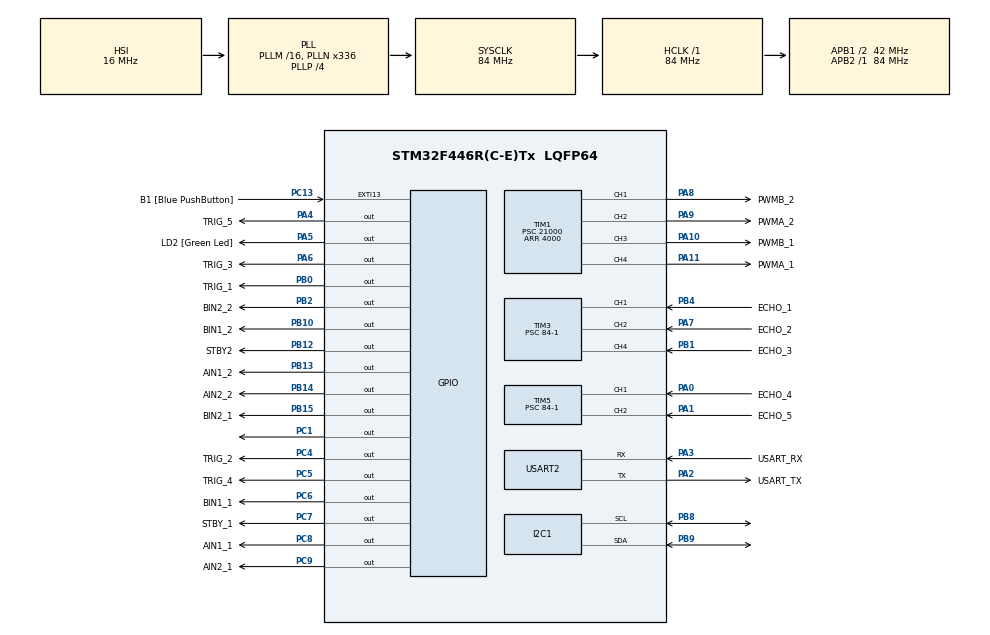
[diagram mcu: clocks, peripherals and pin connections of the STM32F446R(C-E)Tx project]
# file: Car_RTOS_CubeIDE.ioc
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Mcu.Family=STM32F4
Mcu.Name=STM32F446R(C-E)Tx
Mcu.Package=LQFP64
NVIC.PriorityGroup=NVIC_PRIORITYGROUP_4
NVIC.TIM2_IRQn=true\:0\:0\:false\:false\:true\:false\:true
NVIC.TIM3_IRQn=true\:0\:0\:false\:false\:true\:true\:true
NVIC.TimeBase=TIM2_IRQn
NVIC.TimeBaseIP=TIM2
PA0-WKUP.GPIO_Label=ECHO_4
PA0-WKUP.Signal=S_TIM5_CH1
PA1.GPIO_Label=ECHO_5
PA1.Signal=S_TIM5_CH2
PA10.GPIO_Label=PWMB_1
PA10.GPIO_Speed=GPIO_SPEED_FREQ_HIGH
PA10.Signal=S_TIM1_CH3
PA11.GPIO_Label=PWMA_1
PA11.GPIO_Speed=GPIO_SPEED_FREQ_HIGH
PA11.Signal=S_TIM1_CH4
PA13.GPIO_Label=TMS
PA13.Mode=Serial_Wire
PA13.Signal=SYS_JTMS-SWDIO
PA14.GPIO_Label=TCK
PA14.Mode=Serial_Wire
PA14.Signal=SYS_JTCK-SWCLK
PA2.GPIO_Label=USART_TX
PA2.Mode=Asynchronous
PA2.Signal=USART2_TX
PA3.GPIO_Label=USART_RX
PA3.Mode=Asynchronous
PA3.Signal=USART2_RX
PA4.GPIO_Label=TRIG_5
PA4.Signal=GPIO_Output
PA5.GPIO_Label=LD2 [Green Led]
PA5.GPIO_PuPd=GPIO_NOPULL
PA5.GPIO_Speed=GPIO_SPEED_FREQ_LOW
PA5.PinState=GPIO_PIN_RESET
PA5.Signal=GPIO_Output
PA6.GPIO_Label=TRIG_3
PA6.Signal=GPIO_Output
PA7.GPIO_Label=ECHO_2
PA7.Signal=S_TIM3_CH2
PA8.GPIO_Label=PWMB_2
PA8.GPIO_Speed=GPIO_SPEED_FREQ_HIGH
PA8.Signal=S_TIM1_CH1
PA9.GPIO_Label=PWMA_2
PA9.GPIO_Speed=GPIO_SPEED_FREQ_HIGH
PA9.Signal=S_TIM1_CH2
PB0.GPIO_Label=TRIG_1
PB0.Signal=GPIO_Output
PB1.GPIO_Label=ECHO_3
PB1.Signal=S_TIM3_CH4
PB10.GPIO_Label=BIN1_2
PB10.Signal=GPIO_Output
PB12.GPIO_Label=STBY2
PB12.Signal=GPIO_Output
PB13.GPIO_Label=AIN1_2
PB13.Signal=GPIO_Output
PB14.GPIO_Label=AIN2_2
PB14.Signal=GPIO_Output
PB15.GPIO_Label=BIN2_1
PB15.Signal=GPIO_Output
PB2.GPIO_Label=BIN2_2
PB2.Signal=GPIO_Output
PB3.GPIO_Label=SWO
PB3.Signal=SYS_JTDO-SWO
PB4.GPIO_Label=ECHO_1
PB4.Signal=S_TIM3_CH1
PB8.Mode=I2C
PB8.Signal=I2C1_SCL
PB9.Mode=I2C
PB9.Signal=I2C1_SDA
PC1.Signal=GPIO_Output
PC13.GPIO_Label=B1 [Blue PushButton]
PC13.GPIO_ModeDefaultEXTI=GPIO_MODE_IT_FALLING
PC13.Signal=GPXTI13
PC14-OSC32_IN.Mode=LSE-External-Oscillator
PC14-OSC32_IN.Signal=RCC_OSC32_IN
PC15-OSC32_OUT.Mode=LSE-External-Oscillator
PC15-OSC32_OUT.Signal=RCC_OSC32_OUT
PC4.GPIO_Label=TRIG_2
PC4.Signal=GPIO_Output
PC5.GPIO_Label=TRIG_4
PC5.Signal=GPIO_Output
PC6.GPIO_Label=BIN1_1
PC6.Signal=GPIO_Output
PC7.GPIO_Label=STBY_1
PC7.Signal=GPIO_Output
PC8.GPIO_Label=AIN1_1
PC8.Signal=GPIO_Output
PC9.GPIO_Label=AIN2_1
PC9.Signal=GPIO_Output
PH0-OSC_IN.Mode=HSE-External-Oscillator
PH0-OSC_IN.Signal=RCC_OSC_IN
PH1-OSC_OUT.Mode=HSE-External-Oscillator
PH1-OSC_OUT.Signal=RCC_OSC_OUT
ProjectManager.HeapSize=0x200
ProjectManager.StackSize=0x400
ProjectManager.TargetToolchain=STM32CubeIDE
RCC.48MHZClocksFreq_Value=84000000
RCC.AHBFreq_Value=84000000
RCC.APB1CLKDivider=RCC_HCLK_DIV2
RCC.APB1Freq_Value=42000000
RCC.APB1TimFreq_Value=84000000
RCC.APB2Freq_Value=84000000
RCC.APB2TimFreq_Value=84000000
RCC.CortexFreq_Value=84000000
RCC.FLatency-AdvancedSettings=FLASH_LATENCY_2
RCC.HCLKFreq_Value=84000000
RCC.HSE_VALUE=8000000
RCC.HSI_VALUE=16000000
RCC.PLLN=336
RCC.PLLP=RCC_PLLP_DIV4
RCC.SYSCLKFreq_VALUE=84000000
RCC.SYSCLKSource=RCC_SYSCLKSOURCE_PLLCLK
RCC.USBFreq_Value=168000000
RCC.VCOOutputFreq_Value=336000000
SH.S_TIM1_CH1.0=TIM1_CH1,PWM Generation1 CH1
SH.S_TIM1_CH2.0=TIM1_CH2,PWM Generation2 CH2
SH.S_TIM1_CH3.0=TIM1_CH3,PWM Generation3 CH3
SH.S_TIM1_CH4.0=TIM1_CH4,PWM Generation4 CH4
SH.S_TIM3_CH1.0=TIM3_CH1,Input_Capture1_from_TI1
SH.S_TIM3_CH2.0=TIM3_CH2,Input_Capture2_from_TI2
SH.S_TIM3_CH4.0=TIM3_CH4,Input_Capture4_from_TI4
SH.S_TIM5_CH1.0=TIM5_CH1,Input_Capture1_from_TI1
SH.S_TIM5_CH2.0=TIM5_CH2,Input_Capture2_from_TI2
TIM1.Channel-PWM\ Generation1\ CH1=TIM_CHANNEL_1
TIM1.Channel-PWM\ Generation2\ CH2=TIM_CHANNEL_2
TIM1.Channel-PWM\ Generation3\ CH3=TIM_CHANNEL_3
TIM1.Channel-PWM\ Generation4\ CH4=TIM_CHANNEL_4
TIM1.Period=4000
TIM1.Prescaler=21000
TIM1.Pulse-PWM\ Generation1\ CH1=2000
TIM1.Pulse-PWM\ Generation2\ CH2=2000
TIM1.Pulse-PWM\ Generation3\ CH3=2000
TIM1.Pulse-PWM\ Generation4\ CH4=2000
TIM3.Channel-Input_Capture1_from_TI1=TIM_CHANNEL_1
TIM3.Channel-Input_Capture2_from_TI2=TIM_CHANNEL_2
TIM3.Channel-Input_Capture4_from_TI4=TIM_CHANNEL_4
TIM3.ICFilter_CH1=4
TIM3.ICFilter_CH2=4
TIM3.ICFilter_CH4=4
TIM3.ICPolarity_CH1=TIM_INPUTCHANNELPOLARITY_BOTHEDGE
TIM3.ICPolarity_CH2=TIM_INPUTCHANNELPOLARITY_BOTHEDGE
TIM3.ICPolarity_CH4=TIM_INPUTCHANNELPOLARITY_BOTHEDGE
TIM3.Prescaler=84-1
TIM5.Channel-Input_Capture1_from_TI1=TIM_CHANNEL_1
TIM5.Channel-Input_Capture2_from_TI2=TIM_CHANNEL_2
TIM5.ICFilter_CH1=4
TIM5.ICFilter_CH2=4
TIM5.ICPolarity_CH1=TIM_INPUTCHANNELPOLARITY_BOTHEDGE
TIM5.ICPolarity_CH2=TIM_INPUTCHANNELPOLARITY_BOTHEDGE
TIM5.Period=65535
TIM5.Prescaler=84-1
USART2.VirtualMode=VM_ASYNC
VP_SYS_VS_tim2.Mode=TIM2
VP_TIM3_VS_ClockSourceINT.Mode=Internal
VP_TIM4_VS_ClockSourceINT.Mode=Internal
board=NUCLEO-F446RE

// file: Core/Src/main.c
/* USER CODE BEGIN Header */
/**
  ******************************************************************************
  * @file           : main.c
  * @brief          : Main program body
  ******************************************************************************
  * @attention
  *
  * <h2><center>&copy; Copyright (c) 2021 STMicroelectronics.
  * All rights reserved.</center></h2>
  *
  * This software component is licensed by ST under BSD 3-Clause license,
  * the "License"; You may not use this file except in compliance with the
  * License. You may obtain a copy of the License at:
  *                        opensource.org/licenses/BSD-3-Clause
  *
  ******************************************************************************
  */
/* USER CODE END Header */
#include "main.h"

/* USER CODE BEGIN Includes */
#include "FreeRTOS.h"
#include "task.h"
#include "TJ_MPU6050.h"
#include "string.h"
#include "stdio.h"
//#include "SEGGER_SYSVIEW.h"
/* USER CODE END Includes */

I2C_HandleTypeDef hi2c1;

TIM_HandleTypeDef htim1;
TIM_HandleTypeDef htim3;
TIM_HandleTypeDef htim4;
TIM_HandleTypeDef htim5;

UART_HandleTypeDef huart2;

/* USER CODE BEGIN PV */
//Sensor task handles
TaskHandle_t xUS1TaskHandle;
TaskHandle_t xUS2TaskHandle;
TaskHandle_t xUS3TaskHandle;
TaskHandle_t xUS4TaskHandle;
TaskHandle_t xUS5TaskHandle;

//Motion task handles
TaskHandle_t xTurnTestTaskHandle;

//IMU task handle
TaskHandle_t xIMUTaskHandle;

const float SpeedSound = 0.0343;
float range1R;
float range2R;
float range3R;
float range4R;
float range5R;
float range1F = 0.0f;
float range2F = 0.0f;
float range3F = 0.0f;
float range4F = 0.0f;
float range5F = 0.0f;
uint8_t icFlag1 = 0;
uint8_t captureIdx1 = 0;
uint32_t edge1Time1=0, edge2Time1=0;
uint8_t icFlag2 = 0;
uint8_t captureIdx2 = 0;
uint32_t edge1Time2=0, edge2Time2=0;
uint8_t icFlag3 = 0;
uint8_t captureIdx3 = 0;
uint32_t edge1Time3=0, edge2Time3=0;
uint8_t icFlag4 = 0;
uint8_t captureIdx4 = 0;
uint32_t edge1Time4=0, edge2Time4=0;
uint8_t icFlag5 = 0;
uint8_t captureIdx5 = 0;
uint32_t edge1Time5=0, edge2Time5=0;
uint8_t USNUM = 1;

char uartBuf[100];
char uartSenBuf[32] = {0};

//IMU
ScaledData_Def AccelScaled, GyroScaled;

/* USER CODE END PV */

void SystemClock_Config(void);
static void MX_GPIO_Init(void);
static void MX_TIM1_Init(void);
static void MX_USART2_UART_Init(void);
static void MX_TIM4_Init(void);
static void MX_I2C1_Init(void);
static void MX_TIM3_Init(void);
static void MX_TIM5_Init(void);
/* USER CODE BEGIN PFP */
void vUS1Task(void *pvParameters);
void vUS2Task(void *pvParameters);
void vUS3Task(void *pvParameters);
void vUS4Task(void *pvParameters);
void vUS5Task(void *pvParameters);
void usDelay(uint32_t uSec);
void LowPassFilter(void);
void HAL_TIM_IC_CaptureCallback(TIM_HandleTypeDef *htim);
void vTurnTestTask(void *pvParameters);
void vMPU6050Task(void *pvParameters);
void MPU6050Setup(void);
int _write(int file, char *ptr, int len);

//float LowPassFilter(float rangeDataold,float rangeDatanew);
/* USER CODE END PFP */

int main(void)
{

  /* MCU Configuration--------------------------------------------------------*/

  /* Reset of all peripherals, Initializes the Flash interface and the Systick. */
  HAL_Init();

  /* Configure the system clock */
  SystemClock_Config();

  /* Initialize all configured peripherals */
  MX_GPIO_Init();
  MX_TIM1_Init();
  MX_USART2_UART_Init();
  MX_TIM4_Init();
  MX_I2C1_Init();
  MX_TIM3_Init();
  MX_TIM5_Init();
  /* USER CODE BEGIN 2 */
  //Start PWM for motor drivers
  HAL_TIM_PWM_Start(&htim1, TIM_CHANNEL_1);
  HAL_TIM_PWM_Start(&htim1, TIM_CHANNEL_2);
  HAL_TIM_PWM_Start(&htim1, TIM_CHANNEL_3);
  HAL_TIM_PWM_Start(&htim1, TIM_CHANNEL_4);

  //Setup IMU
  MPU6050Setup();
  //SEGGER_SYSVIEW_Conf();
  //SEGGER_SYSVIEW_Start();
  // Create Range sensor task
  xTaskCreate(vUS1Task ,"US1-Task", configMINIMAL_STACK_SIZE, NULL, 1, &xUS1TaskHandle);
  xTaskCreate(vUS2Task ,"US2-Task", configMINIMAL_STACK_SIZE, NULL, 1, &xUS2TaskHandle);
  xTaskCreate(vUS3Task ,"US3-Task", configMINIMAL_STACK_SIZE, NULL, 1, &xUS3TaskHandle);
  xTaskCreate(vUS4Task ,"US4-Task", configMINIMAL_STACK_SIZE, NULL, 1, &xUS4TaskHandle);
  xTaskCreate(vUS5Task ,"US5-Task", configMINIMAL_STACK_SIZE, NULL, 1, &xUS5TaskHandle);

  //Motion tasks
  xTaskCreate(vTurnTestTask, "Turn-Test-Task", configMINIMAL_STACK_SIZE, NULL, 1, &xTurnTestTaskHandle);

  //IMU Task
  xTaskCreate(vMPU6050Task, "IMU-Task", configMINIMAL_STACK_SIZE, NULL, 1, &xIMUTaskHandle);

  vTaskStartScheduler();
  /* USER CODE END 2 */

  /* Infinite loop */
  while (1)
  {

  }
}

void SystemClock_Config(void)
{
  RCC_OscInitTypeDef RCC_OscInitStruct = {0};
  RCC_ClkInitTypeDef RCC_ClkInitStruct = {0};

  /** Configure the main internal regulator output voltage
  */
  __HAL_RCC_PWR_CLK_ENABLE();
  __HAL_PWR_VOLTAGESCALING_CONFIG(PWR_REGULATOR_VOLTAGE_SCALE3);
  /** Initializes the RCC Oscillators according to the specified parameters
  * in the RCC_OscInitTypeDef structure.
  */
  RCC_OscInitStruct.OscillatorType = RCC_OSCILLATORTYPE_HSI;
  RCC_OscInitStruct.HSIState = RCC_HSI_ON;
  RCC_OscInitStruct.HSICalibrationValue = RCC_HSICALIBRATION_DEFAULT;
  RCC_OscInitStruct.PLL.PLLState = RCC_PLL_ON;
  RCC_OscInitStruct.PLL.PLLSource = RCC_PLLSOURCE_HSI;
  RCC_OscInitStruct.PLL.PLLM = 16;
  RCC_OscInitStruct.PLL.PLLN = 336;
  RCC_OscInitStruct.PLL.PLLP = RCC_PLLP_DIV4;
  RCC_OscInitStruct.PLL.PLLQ = 2;
  RCC_OscInitStruct.PLL.PLLR = 2;
  if (HAL_RCC_OscConfig(&RCC_OscInitStruct) != HAL_OK)
  {
    Error_Handler();
  }
  /** Initializes the CPU, AHB and APB buses clocks
  */
  RCC_ClkInitStruct.ClockType = RCC_CLOCKTYPE_HCLK|RCC_CLOCKTYPE_SYSCLK
                              |RCC_CLOCKTYPE_PCLK1|RCC_CLOCKTYPE_PCLK2;
  RCC_ClkInitStruct.SYSCLKSource = RCC_SYSCLKSOURCE_PLLCLK;
  RCC_ClkInitStruct.AHBCLKDivider = RCC_SYSCLK_DIV1;
  RCC_ClkInitStruct.APB1CLKDivider = RCC_HCLK_DIV2;
  RCC_ClkInitStruct.APB2CLKDivider = RCC_HCLK_DIV1;

  if (HAL_RCC_ClockConfig(&RCC_ClkInitStruct, FLASH_LATENCY_2) != HAL_OK)
  {
    Error_Handler();
  }
}

static void MX_I2C1_Init(void)
{

  hi2c1.Instance = I2C1;
  hi2c1.Init.ClockSpeed = 100000;
  hi2c1.Init.DutyCycle = I2C_DUTYCYCLE_2;
  hi2c1.Init.OwnAddress1 = 0;
  hi2c1.Init.AddressingMode = I2C_ADDRESSINGMODE_7BIT;
  hi2c1.Init.DualAddressMode = I2C_DUALADDRESS_DISABLE;
  hi2c1.Init.OwnAddress2 = 0;
  hi2c1.Init.GeneralCallMode = I2C_GENERALCALL_DISABLE;
  hi2c1.Init.NoStretchMode = I2C_NOSTRETCH_DISABLE;
  if (HAL_I2C_Init(&hi2c1) != HAL_OK)
  {
    Error_Handler();
  }

}

static void MX_TIM1_Init(void)
{

  TIM_MasterConfigTypeDef sMasterConfig = {0};
  TIM_OC_InitTypeDef sConfigOC = {0};
  TIM_BreakDeadTimeConfigTypeDef sBreakDeadTimeConfig = {0};

  htim1.Instance = TIM1;
  htim1.Init.Prescaler = 21000;
  htim1.Init.CounterMode = TIM_COUNTERMODE_UP;
  htim1.Init.Period = 4000;
  htim1.Init.ClockDivision = TIM_CLOCKDIVISION_DIV1;
  htim1.Init.RepetitionCounter = 0;
  htim1.Init.AutoReloadPreload = TIM_AUTORELOAD_PRELOAD_DISABLE;
  if (HAL_TIM_PWM_Init(&htim1) != HAL_OK)
  {
    Error_Handler();
  }
  sMasterConfig.MasterOutputTrigger = TIM_TRGO_RESET;
  sMasterConfig.MasterSlaveMode = TIM_MASTERSLAVEMODE_DISABLE;
  if (HAL_TIMEx_MasterConfigSynchronization(&htim1, &sMasterConfig) != HAL_OK)
  {
    Error_Handler();
  }
  sConfigOC.OCMode = TIM_OCMODE_PWM1;
  sConfigOC.Pulse = 2000;
  sConfigOC.OCPolarity = TIM_OCPOLARITY_HIGH;
  sConfigOC.OCNPolarity = TIM_OCNPOLARITY_HIGH;
  sConfigOC.OCFastMode = TIM_OCFAST_DISABLE;
  sConfigOC.OCIdleState = TIM_OCIDLESTATE_RESET;
  sConfigOC.OCNIdleState = TIM_OCNIDLESTATE_RESET;
  if (HAL_TIM_PWM_ConfigChannel(&htim1, &sConfigOC, TIM_CHANNEL_1) != HAL_OK)
  {
    Error_Handler();
  }
  if (HAL_TIM_PWM_ConfigChannel(&htim1, &sConfigOC, TIM_CHANNEL_2) != HAL_OK)
  {
    Error_Handler();
  }
  if (HAL_TIM_PWM_ConfigChannel(&htim1, &sConfigOC, TIM_CHANNEL_3) != HAL_OK)
  {
    Error_Handler();
  }
  if (HAL_TIM_PWM_ConfigChannel(&htim1, &sConfigOC, TIM_CHANNEL_4) != HAL_OK)
  {
    Error_Handler();
  }
  sBreakDeadTimeConfig.OffStateRunMode = TIM_OSSR_DISABLE;
  sBreakDeadTimeConfig.OffStateIDLEMode = TIM_OSSI_DISABLE;
  sBreakDeadTimeConfig.LockLevel = TIM_LOCKLEVEL_OFF;
  sBreakDeadTimeConfig.DeadTime = 0;
  sBreakDeadTimeConfig.BreakState = TIM_BREAK_DISABLE;
  sBreakDeadTimeConfig.BreakPolarity = TIM_BREAKPOLARITY_HIGH;
  sBreakDeadTimeConfig.AutomaticOutput = TIM_AUTOMATICOUTPUT_DISABLE;
  if (HAL_TIMEx_ConfigBreakDeadTime(&htim1, &sBreakDeadTimeConfig) != HAL_OK)
  {
    Error_Handler();
  }
  HAL_TIM_MspPostInit(&htim1);

}

static void MX_TIM3_Init(void)
{

  TIM_ClockConfigTypeDef sClockSourceConfig = {0};
  TIM_MasterConfigTypeDef sMasterConfig = {0};
  TIM_IC_InitTypeDef sConfigIC = {0};

  htim3.Instance = TIM3;
  htim3.Init.Prescaler = 84-1;
  htim3.Init.CounterMode = TIM_COUNTERMODE_UP;
  htim3.Init.Period = 65535;
  htim3.Init.ClockDivision = TIM_CLOCKDIVISION_DIV1;
  htim3.Init.AutoReloadPreload = TIM_AUTORELOAD_PRELOAD_DISABLE;
  if (HAL_TIM_Base_Init(&htim3) != HAL_OK)
  {
    Error_Handler();
  }
  sClockSourceConfig.ClockSource = TIM_CLOCKSOURCE_INTERNAL;
  if (HAL_TIM_ConfigClockSource(&htim3, &sClockSourceConfig) != HAL_OK)
  {
    Error_Handler();
  }
  if (HAL_TIM_IC_Init(&htim3) != HAL_OK)
  {
    Error_Handler();
  }
  sMasterConfig.MasterOutputTrigger = TIM_TRGO_RESET;
  sMasterConfig.MasterSlaveMode = TIM_MASTERSLAVEMODE_DISABLE;
  if (HAL_TIMEx_MasterConfigSynchronization(&htim3, &sMasterConfig) != HAL_OK)
  {
    Error_Handler();
  }
  sConfigIC.ICPolarity = TIM_INPUTCHANNELPOLARITY_BOTHEDGE;
  sConfigIC.ICSelection = TIM_ICSELECTION_DIRECTTI;
  sConfigIC.ICPrescaler = TIM_ICPSC_DIV1;
  sConfigIC.ICFilter = 4;
  if (HAL_TIM_IC_ConfigChannel(&htim3, &sConfigIC, TIM_CHANNEL_1) != HAL_OK)
  {
    Error_Handler();
  }
  if (HAL_TIM_IC_ConfigChannel(&htim3, &sConfigIC, TIM_CHANNEL_2) != HAL_OK)
  {
    Error_Handler();
  }
  if (HAL_TIM_IC_ConfigChannel(&htim3, &sConfigIC, TIM_CHANNEL_4) != HAL_OK)
  {
    Error_Handler();
  }

}

static void MX_TIM4_Init(void)
{

  TIM_ClockConfigTypeDef sClockSourceConfig = {0};
  TIM_MasterConfigTypeDef sMasterConfig = {0};

  htim4.Instance = TIM4;
  htim4.Init.Prescaler = 0;
  htim4.Init.CounterMode = TIM_COUNTERMODE_UP;
  htim4.Init.Period = 65535;
  htim4.Init.ClockDivision = TIM_CLOCKDIVISION_DIV1;
  htim4.Init.AutoReloadPreload = TIM_AUTORELOAD_PRELOAD_DISABLE;
  if (HAL_TIM_Base_Init(&htim4) != HAL_OK)
  {
    Error_Handler();
  }
  sClockSourceConfig.ClockSource = TIM_CLOCKSOURCE_INTERNAL;
  if (HAL_TIM_ConfigClockSource(&htim4, &sClockSourceConfig) != HAL_OK)
  {
    Error_Handler();
  }
  sMasterConfig.MasterOutputTrigger = TIM_TRGO_RESET;
  sMasterConfig.MasterSlaveMode = TIM_MASTERSLAVEMODE_DISABLE;
  if (HAL_TIMEx_MasterConfigSynchronization(&htim4, &sMasterConfig) != HAL_OK)
  {
    Error_Handler();
  }

}

static void MX_TIM5_Init(void)
{

  TIM_MasterConfigTypeDef sMasterConfig = {0};
  TIM_IC_InitTypeDef sConfigIC = {0};

  htim5.Instance = TIM5;
  htim5.Init.Prescaler = 84-1;
  htim5.Init.CounterMode = TIM_COUNTERMODE_UP;
  htim5.Init.Period = 65535;
  htim5.Init.ClockDivision = TIM_CLOCKDIVISION_DIV1;
  htim5.Init.AutoReloadPreload = TIM_AUTORELOAD_PRELOAD_DISABLE;
  if (HAL_TIM_IC_Init(&htim5) != HAL_OK)
  {
    Error_Handler();
  }
  sMasterConfig.MasterOutputTrigger = TIM_TRGO_RESET;
  sMasterConfig.MasterSlaveMode = TIM_MASTERSLAVEMODE_DISABLE;
  if (HAL_TIMEx_MasterConfigSynchronization(&htim5, &sMasterConfig) != HAL_OK)
  {
    Error_Handler();
  }
  sConfigIC.ICPolarity = TIM_INPUTCHANNELPOLARITY_BOTHEDGE;
  sConfigIC.ICSelection = TIM_ICSELECTION_DIRECTTI;
  sConfigIC.ICPrescaler = TIM_ICPSC_DIV1;
  sConfigIC.ICFilter = 4;
  if (HAL_TIM_IC_ConfigChannel(&htim5, &sConfigIC, TIM_CHANNEL_1) != HAL_OK)
  {
    Error_Handler();
  }
  if (HAL_TIM_IC_ConfigChannel(&htim5, &sConfigIC, TIM_CHANNEL_2) != HAL_OK)
  {
    Error_Handler();
  }

}

static void MX_USART2_UART_Init(void)
{

  huart2.Instance = USART2;
  huart2.Init.BaudRate = 115200;
  huart2.Init.WordLength = UART_WORDLENGTH_8B;
  huart2.Init.StopBits = UART_STOPBITS_1;
  huart2.Init.Parity = UART_PARITY_NONE;
  huart2.Init.Mode = UART_MODE_TX_RX;
  huart2.Init.HwFlowCtl = UART_HWCONTROL_NONE;
  huart2.Init.OverSampling = UART_OVERSAMPLING_16;
  if (HAL_UART_Init(&huart2) != HAL_OK)
  {
    Error_Handler();
  }

}

static void MX_GPIO_Init(void)
{
  GPIO_InitTypeDef GPIO_InitStruct = {0};

  /* GPIO Ports Clock Enable */
  __HAL_RCC_GPIOC_CLK_ENABLE();
  __HAL_RCC_GPIOH_CLK_ENABLE();
  __HAL_RCC_GPIOA_CLK_ENABLE();
  __HAL_RCC_GPIOB_CLK_ENABLE();

  /*Configure GPIO pin Output Level */
  HAL_GPIO_WritePin(GPIOC, GPIO_PIN_1|TRIG_2_Pin|TRIG_4_Pin|BIN1_1_Pin
                          |STBY_1_Pin|AIN1_1_Pin|AIN2_1_Pin, GPIO_PIN_RESET);

  /*Configure GPIO pin Output Level */
  HAL_GPIO_WritePin(GPIOA, TRIG_5_Pin|LD2_Pin|TRIG_3_Pin, GPIO_PIN_RESET);

  /*Configure GPIO pin Output Level */
  HAL_GPIO_WritePin(GPIOB, TRIG_1_Pin|BIN2_2_Pin|BIN1_2_Pin|STBY2_Pin
                          |AIN1_2_Pin|AIN2_2_Pin|BIN2_1_Pin, GPIO_PIN_RESET);

  /*Configure GPIO pin : B1_Pin */
  GPIO_InitStruct.Pin = B1_Pin;
  GPIO_InitStruct.Mode = GPIO_MODE_IT_FALLING;
  GPIO_InitStruct.Pull = GPIO_NOPULL;
  HAL_GPIO_Init(B1_GPIO_Port, &GPIO_InitStruct);

  /*Configure GPIO pins : PC1 TRIG_2_Pin TRIG_4_Pin BIN1_1_Pin
                           STBY_1_Pin AIN1_1_Pin AIN2_1_Pin */
  GPIO_InitStruct.Pin = GPIO_PIN_1|TRIG_2_Pin|TRIG_4_Pin|BIN1_1_Pin
                          |STBY_1_Pin|AIN1_1_Pin|AIN2_1_Pin;
  GPIO_InitStruct.Mode = GPIO_MODE_OUTPUT_PP;
  GPIO_InitStruct.Pull = GPIO_NOPULL;
  GPIO_InitStruct.Speed = GPIO_SPEED_FREQ_LOW;
  HAL_GPIO_Init(GPIOC, &GPIO_InitStruct);

  /*Configure GPIO pins : TRIG_5_Pin LD2_Pin TRIG_3_Pin */
  GPIO_InitStruct.Pin = TRIG_5_Pin|LD2_Pin|TRIG_3_Pin;
  GPIO_InitStruct.Mode = GPIO_MODE_OUTPUT_PP;
  GPIO_InitStruct.Pull = GPIO_NOPULL;
  GPIO_InitStruct.Speed = GPIO_SPEED_FREQ_LOW;
  HAL_GPIO_Init(GPIOA, &GPIO_InitStruct);

  /*Configure GPIO pins : TRIG_1_Pin BIN2_2_Pin BIN1_2_Pin STBY2_Pin
                           AIN1_2_Pin AIN2_2_Pin BIN2_1_Pin */
  GPIO_InitStruct.Pin = TRIG_1_Pin|BIN2_2_Pin|BIN1_2_Pin|STBY2_Pin
                          |AIN1_2_Pin|AIN2_2_Pin|BIN2_1_Pin;
  GPIO_InitStruct.Mode = GPIO_MODE_OUTPUT_PP;
  GPIO_InitStruct.Pull = GPIO_NOPULL;
  GPIO_InitStruct.Speed = GPIO_SPEED_FREQ_LOW;
  HAL_GPIO_Init(GPIOB, &GPIO_InitStruct);

}

/* USER CODE BEGIN 4 */
void vUS1Task(void *pvParameters)
{
	for(;;){
		//1. Set TRIG pin low for usec
		HAL_GPIO_WritePin(TRIG_1_GPIO_Port, TRIG_1_Pin, GPIO_PIN_RESET);
		usDelay(3);

		//2. Send quick pulse from trig pin
		HAL_GPIO_WritePin(TRIG_1_GPIO_Port, TRIG_1_Pin, GPIO_PIN_SET);
		usDelay(10);
		HAL_GPIO_WritePin(TRIG_1_GPIO_Port, TRIG_1_Pin, GPIO_PIN_RESET);

		//3. ECHO signal
		USNUM = 1;
		HAL_TIM_IC_Start_IT(&htim3, TIM_CHANNEL_1);
		//Wait for IC flag
		uint32_t startTick = HAL_GetTick();
		do
		{
			if(icFlag1) break;
		}while((HAL_GetTick() - startTick) < 500);
		icFlag1 = 0;
		HAL_TIM_IC_Stop_IT(&htim3, TIM_CHANNEL_1);

		//4. calculate distance in cm
		if(edge2Time1 > edge1Time1)
		{
			range1R = ((edge2Time1 - edge1Time1) + 0.0f)*(SpeedSound/2);
			LowPassFilter();
		}
		else
		{
			range1R = 0.0f;
		}

		//Send data through UART
		//printf("Range 1 raw: %f \n", range1R);
		//printf("Range 1 filtered: %f \n", range1F);
//		sprintf(uartSenBuf, "Range 1: %f\n", range1F);
//		HAL_UART_Transmit(&huart2, (uint8_t *)uartSenBuf, strlen(uartSenBuf), 1000);
//		HAL_UART_Transmit(&huart2, (uint8_t *)range1R, strlen(range1R), 1000);

		//5. Delay for 10 ms
		HAL_Delay(10);
	}
}

void vUS2Task(void *pvParameters)
{
	for(;;){
		//1. Set TRIG pin low for usec
		HAL_GPIO_WritePin(TRIG_2_GPIO_Port, TRIG_2_Pin, GPIO_PIN_RESET);
		usDelay(3);

		//2. Send quick pulse from trig pin
		HAL_GPIO_WritePin(TRIG_2_GPIO_Port, TRIG_2_Pin, GPIO_PIN_SET);
		usDelay(10);
		HAL_GPIO_WritePin(TRIG_2_GPIO_Port, TRIG_2_Pin, GPIO_PIN_RESET);

		//3. ECHO signal
		USNUM = 2;
		HAL_TIM_IC_Start_IT(&htim3, TIM_CHANNEL_2);
		//Wait for IC flag
		uint32_t startTick = HAL_GetTick();
		do
		{
			if(icFlag2) break;
		}while((HAL_GetTick() - startTick) < 500);
		icFlag2 = 0;
		HAL_TIM_IC_Stop_IT(&htim3, TIM_CHANNEL_2);

		//4. calculate distance in cm
		if(edge2Time2 > edge1Time2)
		{
			range2R = ((edge2Time2 - edge1Time2) + 0.0f)*(SpeedSound/2);
			LowPassFilter();
		}
		else
		{
			range2R = 0.0f;
		}

		//printf("Range 2 raw: %f \n", range2R);
		//printf("Range 2 filtered: %f \n", range2F);

		//5. Delay for 10 ms
		HAL_Delay(10);
	}
}

void vUS3Task(void *pvParameters)
{
	for(;;){
		//1. Set TRIG pin low for usec
		HAL_GPIO_WritePin(TRIG_3_GPIO_Port, TRIG_3_Pin, GPIO_PIN_RESET);
		usDelay(3);

		//2. Send quick pulse from trig pin
		HAL_GPIO_WritePin(TRIG_3_GPIO_Port, TRIG_3_Pin, GPIO_PIN_SET);
		usDelay(10);
		HAL_GPIO_WritePin(TRIG_3_GPIO_Port, TRIG_3_Pin, GPIO_PIN_RESET);

		//3. ECHO signal
		USNUM = 3;
		HAL_TIM_IC_Start_IT(&htim3, TIM_CHANNEL_4);
		//Wait for IC flag
		uint32_t startTick = HAL_GetTick();
		do
		{
			if(icFlag3) break;
		}while((HAL_GetTick() - startTick) < 500);
		icFlag3 = 0;
		HAL_TIM_IC_Stop_IT(&htim3, TIM_CHANNEL_4);

		//4. calculate distance in cm
		if(edge2Time3 > edge1Time3)
		{
			range3R = ((edge2Time3 - edge1Time3) + 0.0f)*(SpeedSound/2);
			LowPassFilter();
		}
		else
		{
			range3R = 0.0f;
		}

		//printf("Range 3 raw: %f \n", range3R);
		//printf("Range 3 filtered: %f \n", range3F);

		//5. Delay for 10 ms
		HAL_Delay(10);
	}
}

void vUS4Task(void *pvParameters)
{
	for(;;){
		//1. Set TRIG pin low for usec
		HAL_GPIO_WritePin(TRIG_4_GPIO_Port, TRIG_4_Pin, GPIO_PIN_RESET);
		usDelay(3);

		//2. Send quick pulse from trig pin
		HAL_GPIO_WritePin(TRIG_4_GPIO_Port, TRIG_4_Pin, GPIO_PIN_SET);
		usDelay(10);
		HAL_GPIO_WritePin(TRIG_4_GPIO_Port, TRIG_4_Pin, GPIO_PIN_RESET);

		//3. ECHO signal
		USNUM = 4;
		HAL_TIM_IC_Start_IT(&htim5, TIM_CHANNEL_1);
		//Wait for IC flag
		uint32_t startTick = HAL_GetTick();
		do
		{
			if(icFlag4) break;
		}while((HAL_GetTick() - startTick) < 500);
		icFlag4 = 0;
		HAL_TIM_IC_Stop_IT(&htim5, TIM_CHANNEL_1);

		//4. calculate distance in cm
		if(edge2Time4 > edge1Time4)
		{
			range4R = ((edge2Time4 - edge1Time4) + 0.0f)*(SpeedSound/2);
			LowPassFilter();
		}
		else
		{
			range4R = 0.0f;
		}

		//printf("Range 2 raw: %f \n", range2R);
		//printf("Range 2 filtered: %f \n", range2F);

		//5. Delay for 10 ms
		HAL_Delay(10);
	}
}

void vUS5Task(void *pvParameters)
{
	for(;;){
		//1. Set TRIG pin low for usec
		HAL_GPIO_WritePin(TRIG_5_GPIO_Port, TRIG_5_Pin, GPIO_PIN_RESET);
		usDelay(3);

		//2. Send quick pulse from trig pin
		HAL_GPIO_WritePin(TRIG_5_GPIO_Port, TRIG_5_Pin, GPIO_PIN_SET);
		usDelay(10);
		HAL_GPIO_WritePin(TRIG_5_GPIO_Port, TRIG_5_Pin, GPIO_PIN_RESET);

		//3. ECHO signal
		USNUM = 5;
		HAL_TIM_IC_Start_IT(&htim5, TIM_CHANNEL_2);
		//Wait for IC flag
		uint32_t startTick = HAL_GetTick();
		do
		{
			if(icFlag5) break;
		}while((HAL_GetTick() - startTick) < 500);
		icFlag5 = 0;
		HAL_TIM_IC_Stop_IT(&htim5, TIM_CHANNEL_2);

		//4. calculate distance in cm
		if(edge2Time5 > edge1Time5)
		{
			range5R = ((edge2Time5 - edge1Time5) + 0.0f)*(SpeedSound/2);
			LowPassFilter();
		}
		else
		{
			range5R = 0.0f;
		}

		//printf("Range 2 raw: %f \n", range2R);
		//printf("Range 2 filtered: %f \n", range2F);

		//5. Delay for 10 ms
		HAL_Delay(10);
	}
}

void usDelay(uint32_t uSec)
{
	if(uSec < 2) uSec = 2;
	TIM4->ARR = uSec - 1;
	TIM4->EGR = 1;
	TIM4->SR &= ~1;
	TIM4->CR1 |= 1;
	while((TIM4->SR&0x0001) != 1);
	TIM4->SR &= ~(0x0001);
}

void HAL_TIM_IC_CaptureCallback(TIM_HandleTypeDef *htim)
{

	if(USNUM == 1){
		if(captureIdx1 == 0)
		{
			edge1Time1 = HAL_TIM_ReadCapturedValue(htim, TIM_CHANNEL_1);

			captureIdx1 = 1;
		}
		else if(captureIdx1 == 1)
		{
			edge2Time1 = HAL_TIM_ReadCapturedValue(htim, TIM_CHANNEL_1);
			captureIdx1 = 0;
			icFlag1 = 1;
		}
	}
	else if(USNUM == 2){
		if(captureIdx2 == 0)
		{
			edge1Time2 = HAL_TIM_ReadCapturedValue(htim, TIM_CHANNEL_2);

			captureIdx2 = 1;
		}
		else if(captureIdx2 == 1)
		{
			edge2Time2 = HAL_TIM_ReadCapturedValue(htim, TIM_CHANNEL_2);
			captureIdx2 = 0;
			icFlag2 = 1;
		}
	}
	else if(USNUM == 3){
		if(captureIdx3 == 0)
		{
			edge1Time3 = HAL_TIM_ReadCapturedValue(htim, TIM_CHANNEL_4);

			captureIdx3 = 1;
		}
		else if(captureIdx3 == 1)
		{
			edge2Time3 = HAL_TIM_ReadCapturedValue(htim, TIM_CHANNEL_4);
			captureIdx3 = 0;
			icFlag3 = 1;
		}
	}
	else if(USNUM == 4){
		if(captureIdx4 == 0)
		{
			edge1Time4 = HAL_TIM_ReadCapturedValue(htim, TIM_CHANNEL_1);

			captureIdx4 = 1;
		}
		else if(captureIdx4 == 1)
		{
			edge2Time4 = HAL_TIM_ReadCapturedValue(htim, TIM_CHANNEL_1);
			captureIdx4 = 0;
			icFlag4 = 1;
		}
	}
	else{
		if(captureIdx5 == 0)
		{
			edge1Time5 = HAL_TIM_ReadCapturedValue(htim, TIM_CHANNEL_2);

			captureIdx5 = 1;
		}
		else if(captureIdx5 == 1)
		{
			edge2Time5 = HAL_TIM_ReadCapturedValue(htim, TIM_CHANNEL_2);
			captureIdx5 = 0;
			icFlag5 = 1;
		}
	}
}

void LowPassFilter(void)
{
	if (USNUM == 1){
		if (range1R != 0){
			range1F = (0.75)*range1F + (0.25)*range1R;
		}
	}
	else if (USNUM == 2){
		if (range2R != 0){
			range2F = (0.75)*range2F + (0.25)*range2R;
		}
	}
	else if (USNUM == 3){
		if (range3R != 0){
			range3F = (0.75)*range3F + (0.25)*range3R;
		}
	}
	else if (USNUM == 4){
		if (range4R != 0){
			range4F = (0.75)*range4F + (0.25)*range4R;
		}
	}
	else{
		if (range5R != 0){
			range5F = (0.75)*range5F + (0.25)*range5R;
		}
	}
}

void vTurnTestTask(void *pvParameters)
{
	for(;;){
		HAL_GPIO_WritePin(AIN2_1_GPIO_Port, AIN2_1_Pin, GPIO_PIN_SET);
		HAL_GPIO_WritePin(AIN1_1_GPIO_Port, AIN1_1_Pin, GPIO_PIN_RESET);

		HAL_GPIO_WritePin(STBY_1_GPIO_Port, STBY_1_Pin, GPIO_PIN_SET);

		HAL_GPIO_WritePin(BIN2_1_GPIO_Port, BIN2_1_Pin, GPIO_PIN_SET);
		HAL_GPIO_WritePin(BIN1_1_GPIO_Port, BIN1_1_Pin, GPIO_PIN_RESET);

		htim1.Instance->CCR4 = 0;
		htim1.Instance->CCR3 = 0;

		HAL_GPIO_WritePin(AIN2_2_GPIO_Port, AIN2_2_Pin, GPIO_PIN_RESET);
		HAL_GPIO_WritePin(AIN1_2_GPIO_Port, AIN1_2_Pin, GPIO_PIN_SET);

		HAL_GPIO_WritePin(STBY2_GPIO_Port, STBY2_Pin, GPIO_PIN_SET);

		HAL_GPIO_WritePin(BIN2_2_GPIO_Port, BIN2_2_Pin, GPIO_PIN_RESET);
		HAL_GPIO_WritePin(BIN1_2_GPIO_Port, BIN1_2_Pin, GPIO_PIN_SET);

		htim1.Instance->CCR2 = 0;
		htim1.Instance->CCR1 = 0;

		HAL_Delay(10);
	}
}

void MPU6050Setup(void)
{
	  MPU_ConfigTypeDef MpuConfig;
	  //Initialize the MPU6050
	  MPU6050_Init(&hi2c1);
	  //Configure accel and gyro parameters
	  MpuConfig.Accel_Full_Scale = AFS_SEL_4g;
	  MpuConfig.ClockSource = Internal_8MHz;
	  MpuConfig.CONFIG_DLPF = DLPF_184A_188G_Hz;
	  MpuConfig.Gyro_Full_Scale = FS_SEL_500;
	  MpuConfig.Sleep_Mode_Bit = 0;
	  MPU6050_Config(&MpuConfig);
}

void vMPU6050Task(void *pvParameters)
{
	for(;;)
	{
		//Get scaled MPU6050 data in milli g
		MPU6050_Get_Accel_Cali(&AccelScaled);
		MPU6050_Get_Gyro_Scale(&GyroScaled);

		HAL_Delay(10);
	}
}

int _write(int file, char *ptr, int len)
{
	int DataIdx;
	for (DataIdx = 0; DataIdx < len; DataIdx++){
		ITM_SendChar(*ptr++);
	}
	return len;
}
//float LowPassFilter(float rangeDataold,float rangeDatanew)
//{
//	float rangeDataF = (0.75)*rangeDataold + (0.25)*rangeDatanew;
//	return rangeDataF;
//}
/* USER CODE END 4 */

 /**
  * @brief  Period elapsed callback in non blocking mode
  * @note   This function is called  when TIM2 interrupt took place, inside
  * HAL_TIM_IRQHandler(). It makes a direct call to HAL_IncTick() to increment
  * a global variable "uwTick" used as application time base.
  * @param  htim : TIM handle
  * @retval None
  */
void HAL_TIM_PeriodElapsedCallback(TIM_HandleTypeDef *htim)
{
  if (htim->Instance == TIM2) {
    HAL_IncTick();
  }
}

void Error_Handler(void)
{
  __disable_irq();
  while (1)
  {
  }
}

/************************ (C) COPYRIGHT STMicroelectronics *****END OF FILE****/
